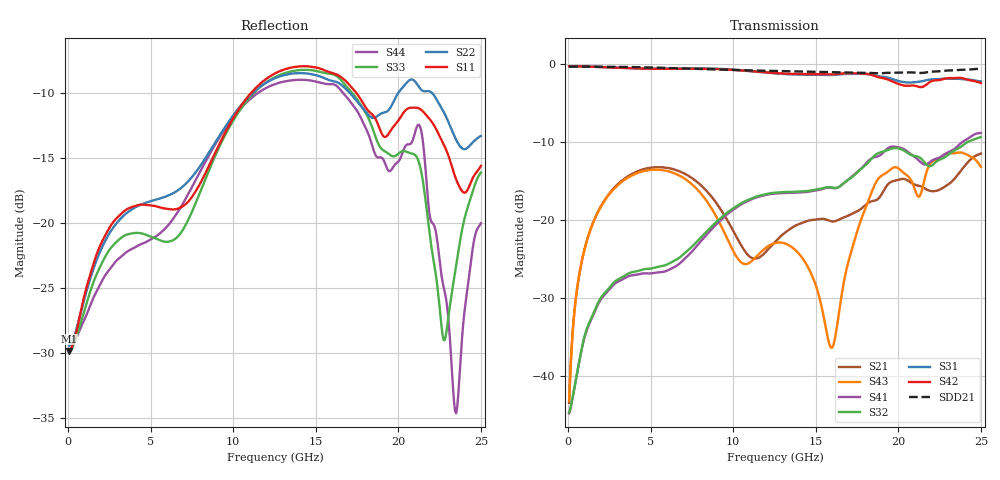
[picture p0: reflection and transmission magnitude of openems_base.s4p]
! BV_ts_m2_per0_q050f25s_e35_in2gnd: /TS-USB4 Components/M2_PER0_P via F.Cu→In3.Cu at (161.287, 130.742) with its partner – diagnosis: In2 joined to every GND via
! stackup: Thunderscope_Rev5.3 from the board file and its kisi.json
! ports: 1 P in, 2 N in, 3 P out, 4 N out
! openEMS 0.37.0, staircase, base mesh (dfine 0.05 mm), 520478 cells
# Hz S RI R 50
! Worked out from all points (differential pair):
!   400 points, 62.5 MHz to 25 GHz, reference 50 ohm
!   strongest paths, dB at 62.5 MHz, 6.312 GHz, 12.56 GHz, 18.81 GHz, 25 GHz:
!     S42: -0.3, -0.6, -1.2, -1.7, -2.4
!     S31: -0.3, -0.6, -1.2, -1.6, -2.2
!     S32: -44.6, -25.3, -16.5, -11.4, -9.4
!     S41: -44.7, -26.1, -16.6, -11.8, -8.8
!     S43: -43.2, -13.9, -22.9, -14.6, -13.2
!     S21: -43.4, -13.4, -22.7, -17.2, -11.5
!   taken as a pair (ports 2,1 in; 4,3 out), SDD21 dB: -0.3, -0.5, -0.9, -1.2, -0.6
!   lowest |S11| = -29.8 dB at 62.5 MHz (marker M1), VSWR 1.07, Z = 46.9 + j0.318 ohm
!   |S11| at or under -10 dB: start of sweep to 11.09 GHz; 17.45 GHz to end of sweep
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6.25e7  -0.0321 0.00339  0.00555 0.00401  0.968 -0.0199  0.00508 -0.00108
        0.00539 0.00408  -0.0337 0.00303  0.00559 -0.00137  0.9656 -0.0201
        0.9676 -0.0197  0.0057 -0.00143  -0.0317 0.00301  0.00538 0.00414
        0.00562 -0.00138  0.9662 -0.0204  0.00568 0.00396  -0.0339 0.00295
2.6875e9  0.0344 0.0939  0.1258 0.0937  0.6172 -0.7214  -0.0352 -0.0155
          0.1256 0.0934  0.0228 0.0924  -0.0344 -0.0176  0.5954 -0.7377
          0.617 -0.7211  -0.0347 -0.0179  0.0619 0.0532  0.1226 0.0944
          -0.0346 -0.0155  0.5956 -0.738  0.1228 0.094  0.0566 0.039
9.375e9  0.0884 0.1948  0.0352 -0.1043  -0.9155 -0.1539  -0.0215 0.1026
         0.0348 -0.1057  0.1118 0.1974  -0.0279 0.1018  -0.9219 -0.0652
         -0.9153 -0.1549  -0.0282 0.102  -0.1415 0.1543  0.0384 -0.0772
         -0.0214 0.1007  -0.9218 -0.0664  0.0383 -0.0783  -0.1372 0.1769
1.59375e10  0.3758 -0.0417  -0.0121 -0.0958  0.2448 0.813  0.1349 -0.0923
            -0.0124 -0.0974  0.352 -0.0148  0.1456 -0.0691  0.3918 0.7627
            0.2447 0.8131  0.1467 -0.0693  0.3494 -0.1329  -0.00948 -0.0104
            0.1323 -0.0912  0.3905 0.762  -0.0097 -0.0117  0.2463 -0.2369
1.83125e10  0.2395 -0.1131  -0.1274 0.0323  0.7601 0.3938  0.0706 -0.2394
            -0.1278 0.0301  0.2499 -0.0538  0.119 -0.2108  0.8308 0.2085
            0.7604 0.3952  0.1202 -0.211  0.0872 -0.2264  -0.00496 0.1443
            0.0684 -0.2363  0.829 0.2098  -0.00522 0.1441  -0.0528 -0.2019
2.35e10  0.107 -0.1012  0.1578 0.1074  0.336 -0.7264  -0.2953 0.0167
         0.1575 0.1047  0.145 -0.1501  -0.2758 -0.0573  0.1536 -0.7982
         0.3384 -0.7292  -0.2761 -0.0583  0.0365 -0.0578  0.2598 -0.0671
         -0.291 0.0158  0.1586 -0.7972  0.2608 -0.0672  0.0171 0.00737
2.5e10  0.1553 -0.0584  0.2686 -0.00262  -0.075 -0.7706  -0.2744 0.2424
        0.2668 -0.00519  0.1708 -0.1324  -0.3114 0.1314  -0.2716 -0.7035
        -0.0707 -0.7695  -0.313 0.1335  -0.000878 -0.1562  0.1018 -0.1908
        -0.2701 0.2402  -0.2714 -0.7046  0.0999 -0.1952  -0.0682 -0.073
